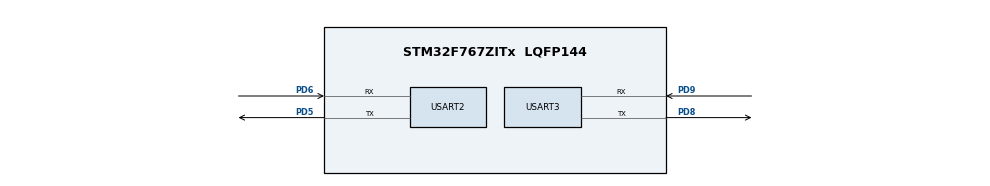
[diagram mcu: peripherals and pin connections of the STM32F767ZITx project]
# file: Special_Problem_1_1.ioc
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Mcu.Family=STM32F7
Mcu.Name=STM32F767ZITx
Mcu.Package=LQFP144
NVIC.PriorityGroup=NVIC_PRIORITYGROUP_2
NVIC.USART2_IRQn=true\:1\:0\:true\:false\:true\:true\:true\:true
PD5.Mode=Asynchronous
PD5.Signal=USART2_TX
PD6.Mode=Asynchronous
PD6.Signal=USART2_RX
PD8.Mode=Asynchronous
PD8.Signal=USART3_TX
PD9.Mode=Asynchronous
PD9.Signal=USART3_RX
ProjectManager.HeapSize=0x200
ProjectManager.StackSize=0x400
ProjectManager.TargetToolchain=STM32CubeIDE
RCC.HSE_VALUE=25000000
RCC.HSI_VALUE=16000000
RCC.LSE_VALUE=32768
RCC.USBFreq_Value=96000000
RCC.VCOOutputFreq_Value=192000000
USART2.VirtualMode-Asynchronous=VM_ASYNC
USART3.VirtualMode-Asynchronous=VM_ASYNC
board=custom

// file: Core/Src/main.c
/* USER CODE BEGIN Header */
/**
 ******************************************************************************
 * @file           : main.c
 * @brief          : Main program body
 ******************************************************************************
 * @attention
 *
 * Copyright (c) 2023 STMicroelectronics.
 * All rights reserved.
 *
 * This software is licensed under terms that can be found in the LICENSE file
 * in the root directory of this software component.
 * If no LICENSE file comes with this software, it is provided AS-IS.
 *
 ******************************************************************************
 */
/* USER CODE END Header */
#include "main.h"

/* USER CODE BEGIN Includes */
#include "string.h"
/* USER CODE END Includes */

UART_HandleTypeDef huart2;
UART_HandleTypeDef huart3;

/* USER CODE BEGIN PV */
static char name[100] = "\t";
static char ch1 = ' ';
static char ch = ' ';
int isReady = 0;
int state = 0;
static char name2[100] = "\t";
static char fromUART2[100] = " ";
static int k = 0;
static char fromUART3[50] = " ";
/* USER CODE END PV */

void SystemClock_Config(void);
static void MPU_Initialize(void);
static void MPU_Config(void);
static void MX_GPIO_Init(void);
static void MX_USART2_UART_Init(void);
static void MX_USART3_UART_Init(void);

int main(void) {

	/* MCU Configuration--------------------------------------------------------*/

	/* Reset of all peripherals, Initializes the Flash interface and the Systick. */
	HAL_Init();

	/* MPU Configuration--------------------------------------------------------*/
	MPU_Config();

	/* Configure the system clock */
	SystemClock_Config();

	/* Initialize all configured peripherals */
	MX_GPIO_Init();
	MX_USART2_UART_Init();
	MX_USART3_UART_Init();
	/* USER CODE BEGIN 2 */
	/*-----------------------------------------------RX---------------------------------------------------------------*/
	HAL_UART_Receive_IT(&huart2, (uint8_t*) &ch, 1);
	while (__HAL_UART_GET_FLAG(&huart3,UART_FLAG_TC) == RESET) {
	}
	HAL_UART_Transmit(&huart3, (uint8_t*) "Man from U.A.R.T.2!\nQuit PRESS q\n",
			strlen("Man from U.A.R.T.2!\nQuit PRESS q\n"), 100);

	while (!isReady) {
	}

//	if (state == 0) {
//		while (ch1 != '\n') {
//			while (__HAL_UART_GET_FLAG(&huart2,UART_FLAG_RXNE) == RESET) {
//			}
//			if (HAL_UART_Receive(&huart2, (uint8_t*) &ch1, 1, 100) == HAL_OK) {
//				//HAL_UART_Transmit(&huart3, (uint8_t*) &ch1, 1, 100);
//				//strcat(fromUART2,ch1);
//				fromUART2[k] = ch1;
//				k++;
//			}
//		}
//		ch1 = ' ';
//		state = 1;
//		for (int i = 0; i < strlen(fromUART2) - 1; i++) {
//			name2[i + 1] = fromUART2[i];
//		}
//		name2[k] = ' ';
//		name2[k + 1] = ':';
//		name2[k + 2] = ' ';
//		fromUART2[strlen(fromUART2) - 1] = ' ';
//		while (__HAL_UART_GET_FLAG(&huart3,UART_FLAG_TC) == RESET) {
//		}
//		HAL_UART_Transmit(&huart3, (uint8_t*) "\t", 1, 1000);
//		while (__HAL_UART_GET_FLAG(&huart3,UART_FLAG_TC) == RESET) {
//		}
//		HAL_UART_Transmit(&huart3, (uint8_t*) fromUART2, strlen(fromUART2),
//				1000);
//		while (__HAL_UART_GET_FLAG(&huart3,UART_FLAG_TC) == RESET) {
//		}
//		HAL_UART_Transmit(&huart3, (uint8_t*) "is ready\n", 10, 1000);
//
//	}

	/*--------------------------------------------------------TX-------------------------------------------------------*/
	int index = 0;
	if (state == 1) {
		while (__HAL_UART_GET_FLAG(&huart3,UART_FLAG_TC) == RESET) {
		}
		HAL_UART_Transmit(&huart3, (uint8_t*) "\tName: ", 7, 100);
		ch1 = ' ';
		while (ch1 != '\n') {

			while (__HAL_UART_GET_FLAG(&huart3,UART_FLAG_RXNE) == RESET) {
			}
			if (HAL_UART_Receive(&huart3, (uint8_t*) &ch1, 1, 100) == HAL_OK) {
				while (__HAL_UART_GET_FLAG(&huart3,UART_FLAG_TC) == RESET) {
				}
				HAL_UART_Transmit(&huart3, (uint8_t*) &ch1, 1, 100);
				name[index] = ch1;
				index++;
			}
		}
		ch1 = ' ';
		//HAL_UART_Transmit(&huart3, (uint8_t*) name, strlen(name), 1000);
		for (int i = 0; i < index; i++) {
			while (__HAL_UART_GET_FLAG(&huart2,UART_FLAG_TC) == RESET) {
			}
			HAL_UART_Transmit(&huart2, (uint8_t*) &name + i, 1, 100);
			HAL_Delay(100);
		}
//		while (__HAL_UART_GET_FLAG(&huart2,UART_FLAG_TC) == RESET) {
//					}
//		HAL_UART_Transmit(&huart2, (uint8_t*) "\n", 1, 1000);
		name[index - 1] = ' ';
		name[index] = '=';
		name[index + 1] = '>';
		name[index + 2] = ' ';
	}

	/* USER CODE END 2 */

	/* Infinite loop */
	/* USER CODE BEGIN WHILE */
	while (1) {
		if (state != 2) {
			while (__HAL_UART_GET_FLAG(&huart3,UART_FLAG_TC) == RESET) {
			}
			HAL_UART_Transmit(&huart3, (uint8_t*) "\t", 1, 100);
			while (__HAL_UART_GET_FLAG(&huart3,UART_FLAG_TC) == RESET) {
			}
			HAL_UART_Transmit(&huart3, (uint8_t*) name, strlen(name), 100);
			index = 0;
			while (ch1 != '\n') {
				while (__HAL_UART_GET_FLAG(&huart3,UART_FLAG_RXNE) == RESET) {
				}
				if (HAL_UART_Receive(&huart3, (uint8_t*) &ch1, 1, 100)
						== HAL_OK) {
					while (__HAL_UART_GET_FLAG(&huart3,UART_FLAG_TC) == RESET) {
					}
					if (state == 2) {
						while (1) {
						}
					}
					HAL_UART_Transmit(&huart3, (uint8_t*) &ch1, 1, 100);
					fromUART3[index] = ch1;
					index++;
				}
			}
			ch1 = ' ';
			for (int i = 0; i < index; i++) {
				while (__HAL_UART_GET_FLAG(&huart2,UART_FLAG_TC) == RESET) {
				}
				HAL_UART_Transmit(&huart2, (uint8_t*) &fromUART3 + i, 1, 100);
				HAL_Delay(10);
			}
			if (fromUART3[0] == 'q' && fromUART3[1] == '\n') {
				state = 2;
				while (__HAL_UART_GET_FLAG(&huart3,UART_FLAG_TC) == RESET) {
				}
				HAL_UART_Transmit(&huart3,
						(uint8_t*) "Program ended from U.A.R.T.2",
						strlen("Program ended from U.A.R.T.2"), 1000);
				return 0;
			}

			memset(fromUART3, 0, index);

		}

		/* USER CODE END WHILE */

	}
}

void SystemClock_Config(void) {
	RCC_OscInitTypeDef RCC_OscInitStruct = { 0 };
	RCC_ClkInitTypeDef RCC_ClkInitStruct = { 0 };

	/** Configure the main internal regulator output voltage
	 */
	__HAL_RCC_PWR_CLK_ENABLE();
	__HAL_PWR_VOLTAGESCALING_CONFIG(PWR_REGULATOR_VOLTAGE_SCALE3);

	/** Initializes the RCC Oscillators according to the specified parameters
	 * in the RCC_OscInitTypeDef structure.
	 */
	RCC_OscInitStruct.OscillatorType = RCC_OSCILLATORTYPE_HSI;
	RCC_OscInitStruct.HSIState = RCC_HSI_ON;
	RCC_OscInitStruct.HSICalibrationValue = RCC_HSICALIBRATION_DEFAULT;
	RCC_OscInitStruct.PLL.PLLState = RCC_PLL_NONE;
	if (HAL_RCC_OscConfig(&RCC_OscInitStruct) != HAL_OK) {
		Error_Handler();
	}

	/** Initializes the CPU, AHB and APB buses clocks
	 */
	RCC_ClkInitStruct.ClockType = RCC_CLOCKTYPE_HCLK | RCC_CLOCKTYPE_SYSCLK
			| RCC_CLOCKTYPE_PCLK1 | RCC_CLOCKTYPE_PCLK2;
	RCC_ClkInitStruct.SYSCLKSource = RCC_SYSCLKSOURCE_HSI;
	RCC_ClkInitStruct.AHBCLKDivider = RCC_SYSCLK_DIV1;
	RCC_ClkInitStruct.APB1CLKDivider = RCC_HCLK_DIV1;
	RCC_ClkInitStruct.APB2CLKDivider = RCC_HCLK_DIV1;

	if (HAL_RCC_ClockConfig(&RCC_ClkInitStruct, FLASH_LATENCY_0) != HAL_OK) {
		Error_Handler();
	}
}

static void MX_USART2_UART_Init(void) {

	huart2.Instance = USART2;
	huart2.Init.BaudRate = 115200;
	huart2.Init.WordLength = UART_WORDLENGTH_8B;
	huart2.Init.StopBits = UART_STOPBITS_1;
	huart2.Init.Parity = UART_PARITY_NONE;
	huart2.Init.Mode = UART_MODE_TX_RX;
	huart2.Init.HwFlowCtl = UART_HWCONTROL_NONE;
	huart2.Init.OverSampling = UART_OVERSAMPLING_16;
	huart2.Init.OneBitSampling = UART_ONE_BIT_SAMPLE_DISABLE;
	huart2.AdvancedInit.AdvFeatureInit = UART_ADVFEATURE_NO_INIT;
	if (HAL_UART_Init(&huart2) != HAL_OK) {
		Error_Handler();
	}

}

static void MX_USART3_UART_Init(void) {

	huart3.Instance = USART3;
	huart3.Init.BaudRate = 115200;
	huart3.Init.WordLength = UART_WORDLENGTH_8B;
	huart3.Init.StopBits = UART_STOPBITS_1;
	huart3.Init.Parity = UART_PARITY_NONE;
	huart3.Init.Mode = UART_MODE_TX_RX;
	huart3.Init.HwFlowCtl = UART_HWCONTROL_NONE;
	huart3.Init.OverSampling = UART_OVERSAMPLING_16;
	huart3.Init.OneBitSampling = UART_ONE_BIT_SAMPLE_DISABLE;
	huart3.AdvancedInit.AdvFeatureInit = UART_ADVFEATURE_NO_INIT;
	if (HAL_UART_Init(&huart3) != HAL_OK) {
		Error_Handler();
	}

}

static void MX_GPIO_Init(void) {

	/* GPIO Ports Clock Enable */
	__HAL_RCC_GPIOD_CLK_ENABLE();

}

/* USER CODE BEGIN 4 */
void HAL_UART_RxCpltCallback(UART_HandleTypeDef *huart) {
	//HAL_GPIO_WritePin(GPIOB, GPIO_PIN_7, 1);
	if (huart == &huart2) {
		//k = 0;
		//ch = ' ';

		HAL_UART_Receive_IT(&huart2, (uint8_t*) &ch, 1);
		if (ch != '\n') {
//			while (__HAL_UART_GET_FLAG(&huart3,UART_FLAG_TC) == RESET) {
//			}
//			HAL_UART_Transmit(&huart3, (uint8_t*) &ch, 1, 100);
			fromUART2[k] = ch;
			k++;
		} else {
			if (fromUART2[0] == 'q' && k == 1) {
				state = 2;

			}
			if (state != 2) {
				if (isReady) {
					ch = ' ';
					while (__HAL_UART_GET_FLAG(&huart3,UART_FLAG_TC) == RESET) {
					}
					HAL_UART_Transmit(&huart3, (uint8_t*) "\r", 1, 100);
					while (__HAL_UART_GET_FLAG(&huart3,UART_FLAG_TC) == RESET) {
					}
					HAL_UART_Transmit(&huart3, (uint8_t*) name2, strlen(name2),
							300);
					while (__HAL_UART_GET_FLAG(&huart3,UART_FLAG_TC) == RESET) {
					}
					HAL_UART_Transmit(&huart3, (uint8_t*) fromUART2, k, 1000);
					while (__HAL_UART_GET_FLAG(&huart3,UART_FLAG_TC) == RESET) {
					}
					HAL_UART_Transmit(&huart3, (uint8_t*) "\n", 1, 100);
					memset(fromUART2, 0, strlen(fromUART2));
					k = 0;
					while (__HAL_UART_GET_FLAG(&huart3,UART_FLAG_TC) == RESET) {
					}
					HAL_UART_Transmit(&huart3, (uint8_t*) "\t", 1, 100);
					while (__HAL_UART_GET_FLAG(&huart3,UART_FLAG_TC) == RESET) {
					}
					HAL_UART_Transmit(&huart3, (uint8_t*) name, strlen(name),
							100);
					while (__HAL_UART_GET_FLAG(&huart3,UART_FLAG_TC) == RESET) {
					}
					HAL_UART_Transmit(&huart3, (uint8_t*) fromUART3,
							strlen(fromUART3), 100);
					state = 1;
				} else {
					for (int i = 0; i < strlen(fromUART2); i++) {
						name2[i + 1] = fromUART2[i];
					}

					//fromUART2[strlen(fromUART2)] = ' ';
//					while (__HAL_UART_GET_FLAG(&huart3,UART_FLAG_TC) == RESET) {
//					}
//					HAL_UART_Transmit(&huart3, (uint8_t*) "\t", 1, 100);
					while (__HAL_UART_GET_FLAG(&huart3,UART_FLAG_TC) == RESET) {
					}
					HAL_UART_Transmit(&huart3, (uint8_t*) name2, strlen(name2),
							1000);
					while (__HAL_UART_GET_FLAG(&huart3,UART_FLAG_TC) == RESET) {
					}
					HAL_UART_Transmit(&huart3, (uint8_t*) " is ready\n", 11,
							1000);
					memset(fromUART2, 0, strlen(fromUART2));
					name2[k + 1] = ' ';
					name2[k + 2] = ':';
					name2[k + 3] = ' ';
					isReady = 1;
					state = 1;
					k = 0;
				}

			} else {
				while (__HAL_UART_GET_FLAG(&huart3,UART_FLAG_TC) == RESET) {
				}
				HAL_UART_Transmit(&huart3,
						(uint8_t*) "\rProgram ended from U.A.R.T.1",
						strlen("\rProgram ended from U.A.R.T.1"), 1000);
			}
		}
	}
}
/* USER CODE END 4 */

/* MPU Configuration */

void MPU_Config(void) {
	MPU_Region_InitTypeDef MPU_InitStruct = { 0 };

	/* Disables the MPU */
	HAL_MPU_Disable();

	/** Initializes and configures the Region and the memory to be protected
	 */
	MPU_InitStruct.Enable = MPU_REGION_ENABLE;
	MPU_InitStruct.Number = MPU_REGION_NUMBER0;
	MPU_InitStruct.BaseAddress = 0x0;
	MPU_InitStruct.Size = MPU_REGION_SIZE_4GB;
	MPU_InitStruct.SubRegionDisable = 0x87;
	MPU_InitStruct.TypeExtField = MPU_TEX_LEVEL0;
	MPU_InitStruct.AccessPermission = MPU_REGION_NO_ACCESS;
	MPU_InitStruct.DisableExec = MPU_INSTRUCTION_ACCESS_DISABLE;
	MPU_InitStruct.IsShareable = MPU_ACCESS_SHAREABLE;
	MPU_InitStruct.IsCacheable = MPU_ACCESS_NOT_CACHEABLE;
	MPU_InitStruct.IsBufferable = MPU_ACCESS_NOT_BUFFERABLE;

	HAL_MPU_ConfigRegion(&MPU_InitStruct);
	/* Enables the MPU */
	HAL_MPU_Enable(MPU_PRIVILEGED_DEFAULT);

}

void Error_Handler(void) {
	__disable_irq();
	while (1) {
	}
}
